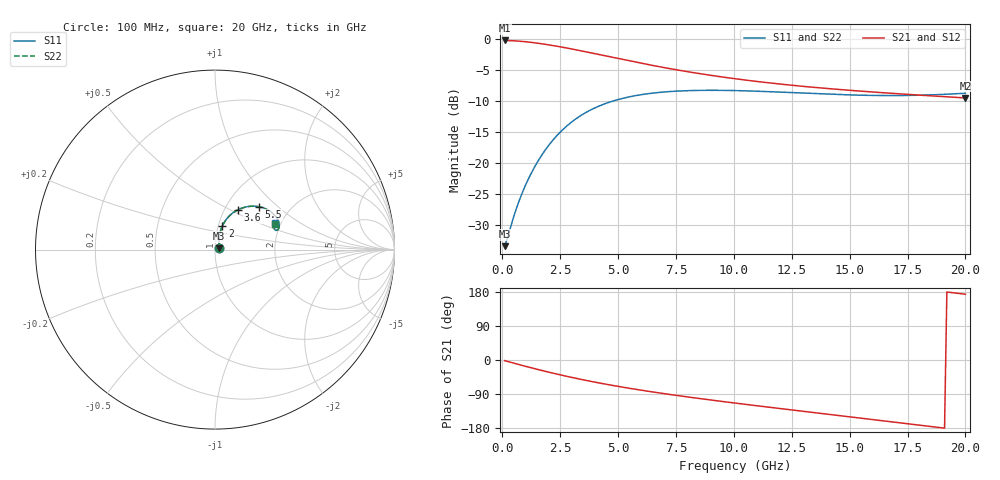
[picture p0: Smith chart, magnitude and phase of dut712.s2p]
! Touchstone file exported from HFSS 2024.1.0
!  File:  C:/UserFiles/LocalFiles/RDL_TSV_Batchsim/temp_RDL_TSV_712_1779888575.aedt
!  Generated:  09:44:20 PM May 27, 2026
!  Design:  RDL_TSV
!  Project:  temp_RDL_TSV_712_1779888575
!  Setup:  Setup1
!  Solution:  Sweep
! Variables:
!  dtsv = 7.38um
!  hbump = 3um
!  htsv = 94.03um
!  ldown = 540.74um
!  lrdl = 184.48um
!  p = 40
!  p1 = 57.13um
!  rhole = 10um
!  subl = 2360.14um
!  t = 450um
!  tdown = 4.05um
!  trdl = 2.96um
!  viad = 10um
!  wdown = 12.6um
!  wrdl = 10.81um
!  xbump = 18um
# GHz S MA R 50.000000
! Terminal data exported
! Port[1] = TM1_1_T1
! Port[2] = TM1_4_T1
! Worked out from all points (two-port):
!   200 points, 100 MHz to 20 GHz, reference 50 ohm
!   highest |S21| = -0.18 dB at 100 MHz (marker M1); lowest = -9.5 dB at 20 GHz (marker M2)
!   |S21| within 3 dB of the highest: start of sweep to 5.097 GHz
!   lowest |S11| = -33.5 dB at 100 MHz (marker M3), VSWR 1.04, Z = 52.1 + j0.645 ohm
!   |S11| at or under -10 dB: start of sweep to 4.766 GHz
!   |S22| runs from -33.5 to -8.3 dB; largest |S21 - S12| = 1.7e-14
!   S11 on the Smith chart (normalised r, x): 100 MHz: 1.04, +0.01; 2 GHz: 1.05, +0.28; 3.6 GHz: 1.15, +0.55; 5.5 GHz: 1.41, +0.76; 20 GHz: 1.87, +0.63
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0.1  0.02119 17.0  0.9795 -1.7  0.9795 -1.7  0.02119 17.0
! Gamma 0 0 0 0
! Port Impedance 50 0 50 0
0.2  0.02391 31.0  0.9786 -3.4  0.9786 -3.4  0.02391 31.0
0.6  0.04231 59.2  0.9704 -10.1  0.9704 -10.1  0.04232 59.2
0.8  0.05357 65.4  0.9641 -13.4  0.9641 -13.4  0.05357 65.3
1  0.06585 69.3  0.9565 -16.6  0.9565 -16.6  0.06585 69.2
1.5  0.1004 73.3  0.9325 -24.5  0.9325 -24.5  0.1003 73.3
2  0.1384 72.7  0.9031 -32.0  0.9031 -32.0  0.1383 72.6
2.3  0.1618 71.1  0.8837 -36.4  0.8837 -36.4  0.1617 71.0
2.7  0.1926 68.2  0.8565 -41.9  0.8565 -41.9  0.1924 68.1
3.5  0.2488 61.2  0.8003 -52.4  0.8003 -52.4  0.2485 61.1
3.6  0.2551 60.2  0.7933 -53.6  0.7933 -53.6  0.2549 60.2
4.5  0.3044 52.1  0.7317 -64.2  0.7317 -64.2  0.304 52.1
5.5  0.343 44.1  0.6691 -74.8  0.6691 -74.8  0.3425 44.0
6.8  0.3723 35.5  0.5996 -87.1  0.5996 -87.1  0.3717 35.4
8.3  0.3857 28.0  0.536 -99.9  0.536 -99.9  0.3851 28.0
10.1  0.3848 21.9  0.4786 -114.0  0.4786 -114.0  0.3841 21.9
11.7  0.376 18.8  0.4407 -126.0  0.4407 -126.0  0.3753 18.7
13.4  0.3643 17.4  0.4097 -138.3  0.4097 -138.3  0.3635 17.3
15  0.355 17.7  0.3868 -149.9  0.3868 -149.9  0.3543 17.6
16.7  0.3508 19.3  0.3669 -162.3  0.3669 -162.3  0.3501 19.2
18.3  0.3544 21.4  0.3509 -174.0  0.3509 -174.0  0.3536 21.3
20  0.3663 23.4  0.3357 173.6  0.3357 173.6  0.3656 23.4
